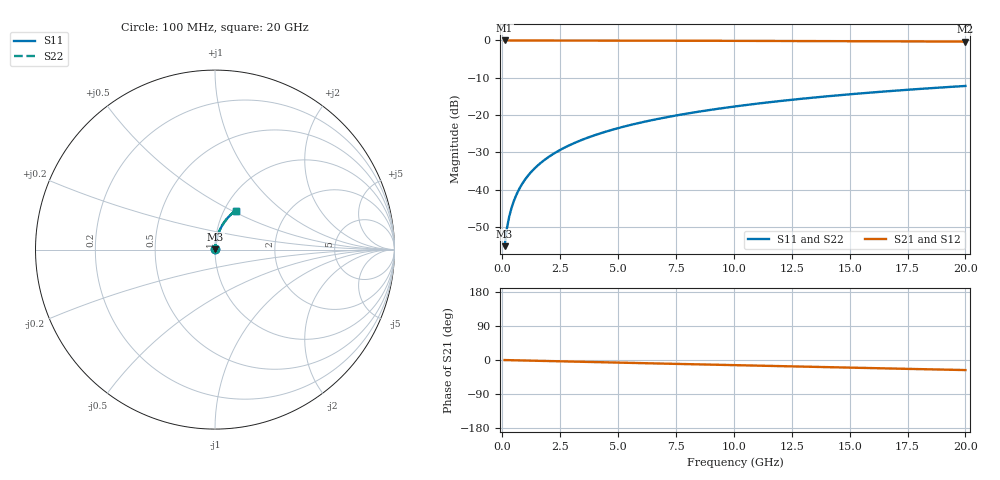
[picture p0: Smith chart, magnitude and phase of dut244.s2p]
! Touchstone file exported from HFSS 2026.1.0
!  File:  C:/ffzhzh/LocalFiles/Ansys_Project_Files/temp_train_BSMRDL_244_1782988478_40604.aedt
!  Generated:  06:35:55 PM Jul  2, 2026
!  Design:  BSMRDL
!  Project:  temp_train_BSMRDL_244_1782988478_40604
! Variables:
!  h_bsmrdl = 6um
!  h_ox = 20um
!  h_rdl = 5um
!  h_sub = 80um
!  h_tmrdl = 5um
!  h_tsv = 80um
!  h_via = 3um
!  l_bsmrdl = 363.55um
!  l_sub = 763.55um
!  l_tmrdl = 200um
!  m_sub = 200um
!  pitch = 59.64um
!  r_tsv = 6um
!  s_tmrdl = 10um
!  w_bsmrdl = 28.28um
!  w_sub = 500um
!  w_tmrdl = 12um
!  x_tsv_center1 = 206um
!  x_tsv_center2 = 597.83um
!  x_tsv_center3 = 809.83um
!  x_tsv_center4 = 1201.66um
!  x_tsv_center5 = 1413.66um
!  x_tsv_center6 = 1805.49um
# GHz S MA R 50.000000
! Terminal data exported
! Port[1] = BSM_RDL1_1_T1
! Port[2] = BSM_RDL1_1_T2
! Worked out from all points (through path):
!   200 points, 100 MHz to 20 GHz, reference 50 ohm
!   highest |S21| = -0.01 dB at 100 MHz (marker M1); lowest = -0.3 dB at 20 GHz (marker M2)
!   group delay of S21, straight-line fit = 3.69 ps
!   lowest |S11| = -55.2 dB at 100 MHz (marker M3), VSWR 1.00, Z = 50.1 + j0.148 ohm
!   |S11| at or under -10 dB: start of sweep to end of sweep
!   |S22| runs from -55.2 to -12.2 dB; largest |S21 - S12| = 3.6e-15
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0.1  0.001746 57.8  0.9991 -0.1  0.9991 -0.1  0.001746 57.8
! Gamma 0 0 0 0
! Port Impedance 50 0 50 0
0.2  0.003043 70.5  0.999 -0.3  0.999 -0.3  0.003043 70.5
0.3  0.004368 75.7  0.9989 -0.4  0.9989 -0.4  0.004368 75.7
0.4  0.00571 78.5  0.9989 -0.6  0.9989 -0.6  0.00571 78.5
0.5  0.007063 80.3  0.9989 -0.7  0.9989 -0.7  0.007063 80.3
0.7  0.009784 82.2  0.9988 -1.0  0.9988 -1.0  0.009784 82.2
0.8  0.01115 82.8  0.9988 -1.1  0.9988 -1.1  0.01115 82.8
1  0.01388 83.4  0.9987 -1.4  0.9987 -1.4  0.01388 83.4
1.2  0.0166 83.7  0.9985 -1.7  0.9985 -1.7  0.0166 83.7
1.4  0.01932 83.9  0.9984 -2.0  0.9984 -2.0  0.01932 83.9
1.7  0.02338 83.9  0.9982 -2.4  0.9982 -2.4  0.02338 83.9
2  0.02741 83.7  0.998 -2.8  0.998 -2.8  0.02741 83.7
2.7  0.03674 83.1  0.9973 -3.8  0.9973 -3.8  0.03674 83.1
3.5  0.04726 82.3  0.9965 -4.8  0.9965 -4.8  0.04726 82.3
4.2  0.05637 81.5  0.9958 -5.8  0.9958 -5.8  0.05637 81.5
5  0.06671 80.6  0.9948 -6.9  0.9948 -6.9  0.06671 80.6
6.8  0.08971 78.5  0.9925 -9.3  0.9925 -9.3  0.08972 78.5
8.3  0.1086 76.7  0.9902 -11.3  0.9902 -11.3  0.1086 76.7
10.1  0.131 74.4  0.9872 -13.7  0.9872 -13.7  0.131 74.4
13.4  0.1708 70.3  0.9805 -18.1  0.9805 -18.1  0.1708 70.3
16.7  0.209 66.2  0.9726 -22.4  0.9726 -22.4  0.209 66.2
20  0.2453 62.1  0.9637 -26.6  0.9637 -26.6  0.2453 62.1
